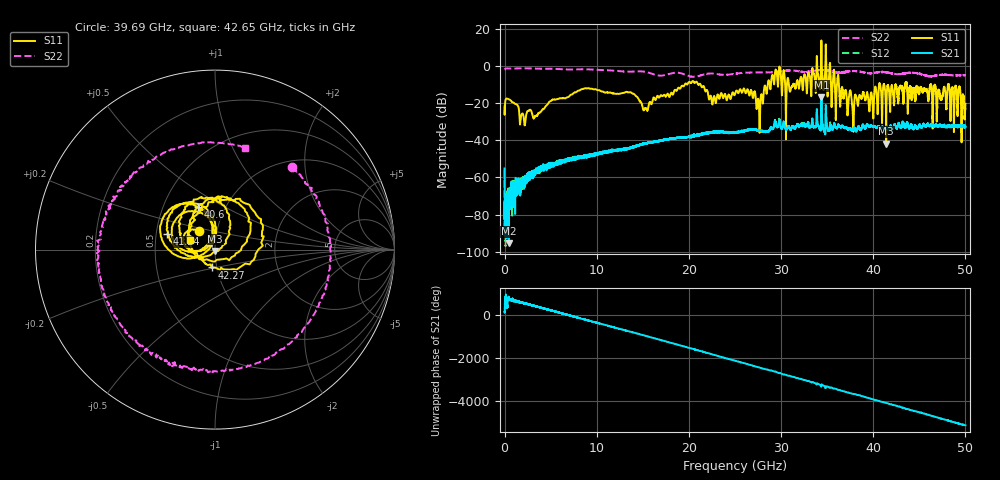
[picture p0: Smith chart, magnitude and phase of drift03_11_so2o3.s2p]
!Created with skrf (http://scikit-rf.org).
# Hz S RI R 50.0
!freq ReS11 ImS11 ReS21 ImS21 ReS12 ImS12 ReS22 ImS22
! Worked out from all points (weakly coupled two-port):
!   10001 points, 300 kHz to 50 GHz, reference 50 ohm
!   highest |S21| = -17.03 dB at 34.37 GHz (marker M1); lowest = -95.6 dB at 455.3 MHz (marker M2)
!   lowest |S11| = -41.8 dB at 41.4 GHz (marker M3), VSWR 1.02, Z = 50.1 - j0.808 ohm
!   |S11| at or under -10 dB: start of sweep to 19.56 GHz; 21.25 GHz to 28.55 GHz (7.296 GHz wide, 29.3 % of centre); 36.28 GHz to 40.64 GHz (4.356 GHz wide, 11.3 % of centre) (the widest 3 of 32)
!   |S22| runs from -5.9 to -1.3 dB; largest |S21 - S12| = 0.025
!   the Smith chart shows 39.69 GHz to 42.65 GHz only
!   S11 on the Smith chart (normalised r, x): 39.69 GHz: 0.82, +0.17; 40.6 GHz: 0.75, +0.38; 41.24 GHz: 0.57, +0.11; 42.27 GHz: 0.94, -0.19; 42.65 GHz: 0.75, +0.08
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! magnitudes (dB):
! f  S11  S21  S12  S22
! 300 kHz  -21.8  -55.2  -56.0  -2.1
! 455.3 MHz  -18.1  -95.6  -87.1  -1.5
! 3.3 GHz  -27.3  -56.7  -56.7  -1.5
! 8.335 GHz  -12.6  -49.3  -49.1  -1.9
! 15.28 GHz  -22.8  -41.8  -41.7  -3.3
! 16.67 GHz  -16.5  -40.6  -40.5  -5.2
! 20.26 GHz  -9.2  -38.1  -37.8  -5.8
! 25 GHz  -15.2  -35.9  -35.8  -4.3
! 27.52 GHz  -17.8  -34.7  -34.5  -3.5
! 29.28 GHz  -8.7  -31.0  -30.7  -3.4
! 30.73 GHz  -6.6  -32.7  -32.7  -2.5
! 33.34 GHz  -7.6  -31.3  -31.3  -2.9
! 34.37 GHz  13.6  -17.0  -18.4  -2.3
! 37.83 GHz  -31.0  -34.0  -34.4  -2.8
! 39.69 GHz  -17.3  -32.2  -32.1  -4.0
! 40.6 GHz  -11.9  -32.5  -32.5  -3.4
! 41.24 GHz  -11.1  -34.0  -34.0  -3.4
! 41.4 GHz  -41.8  -32.8  -32.9  -3.5
! 41.67 GHz  -11.8  -34.2  -34.2  -3.7
! 42.27 GHz  -19.9  -32.0  -32.1  -4.3
! 42.65 GHz  -16.5  -32.9  -32.8  -4.5
! 50 GHz  -20.4  -32.7  -32.5  -5.0
